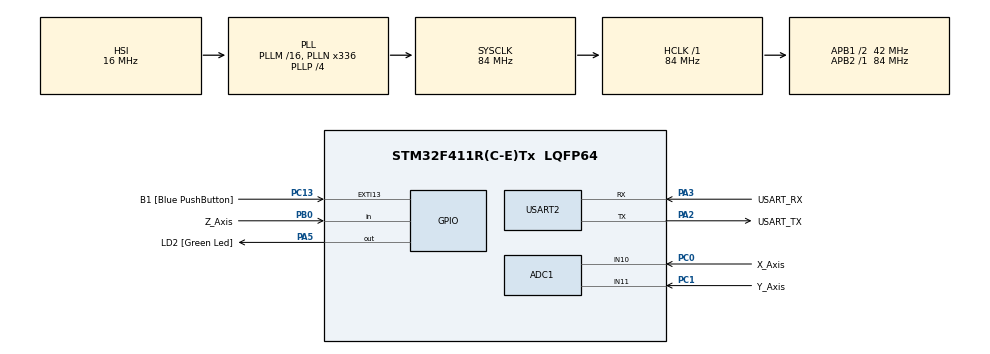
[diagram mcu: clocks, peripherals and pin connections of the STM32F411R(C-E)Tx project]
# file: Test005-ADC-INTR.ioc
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ADC1.Channel-0\#ChannelRegularConversion=ADC_CHANNEL_10
ADC1.Channel-1\#ChannelRegularConversion=ADC_CHANNEL_11
ADC1.DiscontinuousConvMode=ENABLE
ADC1.NbrOfConversion=2
ADC1.NbrOfConversionFlag=1
ADC1.Rank-0\#ChannelRegularConversion=1
ADC1.Rank-1\#ChannelRegularConversion=2
ADC1.SamplingTime-0\#ChannelRegularConversion=ADC_SAMPLETIME_3CYCLES
ADC1.SamplingTime-1\#ChannelRegularConversion=ADC_SAMPLETIME_3CYCLES
ADC1.master=1
Mcu.Family=STM32F4
Mcu.Name=STM32F411R(C-E)Tx
Mcu.Package=LQFP64
NVIC.ADC_IRQn=true\:0\:0\:false\:false\:true\:true\:true\:true
NVIC.PriorityGroup=NVIC_PRIORITYGROUP_0
NVIC.TIM3_IRQn=true\:0\:0\:false\:false\:true\:true\:true\:true
PA13.GPIO_Label=TMS
PA13.Mode=Serial_Wire
PA13.Signal=SYS_JTMS-SWDIO
PA14.GPIO_Label=TCK
PA14.Mode=Serial_Wire
PA14.Signal=SYS_JTCK-SWCLK
PA2.GPIO_Label=USART_TX
PA2.Mode=Asynchronous
PA2.Signal=USART2_TX
PA3.GPIO_Label=USART_RX
PA3.Mode=Asynchronous
PA3.Signal=USART2_RX
PA5.GPIO_Label=LD2 [Green Led]
PA5.Signal=GPIO_Output
PB0.GPIO_Label=Z_Axis
PB0.GPIO_PuPd=GPIO_PULLUP
PB0.Signal=GPIO_Input
PB3.GPIO_Label=SWO
PB3.Signal=SYS_JTDO-SWO
PC0.GPIO_Label=X_Axis
PC0.Signal=ADCx_IN10
PC1.GPIO_Label=Y_Axis
PC1.Signal=ADCx_IN11
PC13-ANTI_TAMP.GPIO_Label=B1 [Blue PushButton]
PC13-ANTI_TAMP.GPIO_ModeDefaultEXTI=GPIO_MODE_IT_FALLING
PC13-ANTI_TAMP.Signal=GPXTI13
PC14-OSC32_IN.Mode=LSE-External-Oscillator
PC14-OSC32_IN.Signal=RCC_OSC32_IN
PC15-OSC32_OUT.Mode=LSE-External-Oscillator
PC15-OSC32_OUT.Signal=RCC_OSC32_OUT
PH0\ -\ OSC_IN.Mode=HSE-External-Clock-Source
PH0\ -\ OSC_IN.Signal=RCC_OSC_IN
PH1\ -\ OSC_OUT.Mode=HSE-External-Clock-Source
PH1\ -\ OSC_OUT.Signal=RCC_OSC_OUT
ProjectManager.HeapSize=0x200
ProjectManager.StackSize=0x400
ProjectManager.TargetToolchain=STM32CubeIDE
RCC.48MHZClocksFreq_Value=84000000
RCC.AHBFreq_Value=84000000
RCC.APB1CLKDivider=RCC_HCLK_DIV2
RCC.APB1Freq_Value=42000000
RCC.APB1TimFreq_Value=84000000
RCC.APB2Freq_Value=84000000
RCC.APB2TimFreq_Value=84000000
RCC.CortexFreq_Value=84000000
RCC.FLatency-AdvancedSettings=FLASH_LATENCY_2
RCC.HCLKFreq_Value=84000000
RCC.HSE_VALUE=8000000
RCC.HSI_VALUE=16000000
RCC.PLLN=336
RCC.PLLP=RCC_PLLP_DIV4
RCC.SYSCLKFreq_VALUE=84000000
RCC.SYSCLKSource=RCC_SYSCLKSOURCE_PLLCLK
RCC.VCOOutputFreq_Value=336000000
SH.ADCx_IN10.0=ADC1_IN10,IN10
SH.ADCx_IN11.0=ADC1_IN11,IN11
TIM3.Period=2000-1
TIM3.Prescaler=8400-1
USART2.VirtualMode=VM_ASYNC
VP_TIM3_VS_ClockSourceINT.Mode=Internal
board=NUCLEO-F411RE

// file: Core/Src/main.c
/* USER CODE BEGIN Header */
/**
  ******************************************************************************
  * @file           : main.c
  * @brief          : Main program body
  ******************************************************************************
  * @attention
  *
  * Copyright (c) 2024 STMicroelectronics.
  * All rights reserved.
  *
  * This software is licensed under terms that can be found in the LICENSE file
  * in the root directory of this software component.
  * If no LICENSE file comes with this software, it is provided AS-IS.
  *
  ******************************************************************************
  */
/* USER CODE END Header */
#include "main.h"

ADC_HandleTypeDef hadc1;

TIM_HandleTypeDef htim3;

UART_HandleTypeDef huart2;

void SystemClock_Config(void);
static void MX_GPIO_Init(void);
static void MX_USART2_UART_Init(void);
static void MX_ADC1_Init(void);
static void MX_TIM3_Init(void);

/* USER CODE BEGIN 0 */
int xa[100];
int ya[100];
void MakeItem()
{
	int i;
	//srand(htim3.Instance->CNT);
	srand(hadc1.Instance->DR);
	  for( i = 0; i <100; i++)
	  {
		  int v1 = rand(); // 0 ~ 2,147,483,647
		  int v2 = rand();
		  xa[i] = (((double)v1/ 2147483647.)) * 80;
		  ya[i] = (((double)v2/ 2147483647.)) * 24;
		  //printf("[%d;%d](%d,%d)\r\n", v1, v2, xa[i], ya[i]);
		  printf("\033[%d;%dH!", ya[i], xa[i]);
	  }
	  printf("\n");
}
int x, y=12, z, idx = 0;
int sx=80,sy=24;
int cx=39,cy=12;
void HAL_ADC_ConvCpltCallback(ADC_HandleTypeDef *hadc)
{
	//HAL_ADC_Start(&hadc1);
	//HAL_ADC_PollForConversion(&hadc1, 1000); // start Trigger
	int v = ((double)((HAL_ADC_GetValue(&hadc1)) / 1400)) -1;
	if(idx == 0) x = cx + v; else y = cy + v;
	//printf("ADC value : %d\r\n", v);
	//HAL_Delay(200);
	if(++idx == 2) idx = 0;
	x = (x > 80)? 80: (x < 0) ? 0:x;
	y = (y > 24)? 24: (y < 0) ? 0:y;
	z = HAL_GPIO_ReadPin(Z_Axis_GPIO_Port, Z_Axis_Pin);
}
void HAL_TIM_PeriodElapsedCallback(TIM_HandleTypeDef *htim)
{
	HAL_ADC_Start_IT(&hadc1); // one time
}
/* USER CODE END 0 */

int main(void)
{

  /* MCU Configuration--------------------------------------------------------*/

  /* Reset of all peripherals, Initializes the Flash interface and the Systick. */
  HAL_Init();

  /* Configure the system clock */
  SystemClock_Config();

  /* Initialize all configured peripherals */
  MX_GPIO_Init();
  MX_USART2_UART_Init();
  MX_ADC1_Init();
  MX_TIM3_Init();
  /* USER CODE BEGIN 2 */
  ProgramStart("ADC - Interrupt ");
  //HAL_ADC_Start_IT(&hadc1); // one time
  HAL_TIM_Base_Start_IT(&htim3);
  printf("\033[2J\033[?25l\n");

  /* USER CODE END 2 */

  /* Infinite loop */
  /* USER CODE BEGIN WHILE */
  MakeItem();
  while (1)
  {
	//printf("Current ADC value (%d,%d) : \r\n", x, y);
	  printf("\033[0;0HADC Value : (%d,%d,%d)\n", x, y, z); // location info
	  printf("\033[%d;%dH \033[%d;%dH@\033[A\n", cy, cx, y, x);
	  cx = x; cy = y; //save current pos
	  HAL_Delay(100);
    /* USER CODE END WHILE */

  }
}

void SystemClock_Config(void)
{
  RCC_OscInitTypeDef RCC_OscInitStruct = {0};
  RCC_ClkInitTypeDef RCC_ClkInitStruct = {0};

  /** Configure the main internal regulator output voltage
  */
  __HAL_RCC_PWR_CLK_ENABLE();
  __HAL_PWR_VOLTAGESCALING_CONFIG(PWR_REGULATOR_VOLTAGE_SCALE1);

  /** Initializes the RCC Oscillators according to the specified parameters
  * in the RCC_OscInitTypeDef structure.
  */
  RCC_OscInitStruct.OscillatorType = RCC_OSCILLATORTYPE_HSI;
  RCC_OscInitStruct.HSIState = RCC_HSI_ON;
  RCC_OscInitStruct.HSICalibrationValue = RCC_HSICALIBRATION_DEFAULT;
  RCC_OscInitStruct.PLL.PLLState = RCC_PLL_ON;
  RCC_OscInitStruct.PLL.PLLSource = RCC_PLLSOURCE_HSI;
  RCC_OscInitStruct.PLL.PLLM = 16;
  RCC_OscInitStruct.PLL.PLLN = 336;
  RCC_OscInitStruct.PLL.PLLP = RCC_PLLP_DIV4;
  RCC_OscInitStruct.PLL.PLLQ = 4;
  if (HAL_RCC_OscConfig(&RCC_OscInitStruct) != HAL_OK)
  {
    Error_Handler();
  }

  /** Initializes the CPU, AHB and APB buses clocks
  */
  RCC_ClkInitStruct.ClockType = RCC_CLOCKTYPE_HCLK|RCC_CLOCKTYPE_SYSCLK
                              |RCC_CLOCKTYPE_PCLK1|RCC_CLOCKTYPE_PCLK2;
  RCC_ClkInitStruct.SYSCLKSource = RCC_SYSCLKSOURCE_PLLCLK;
  RCC_ClkInitStruct.AHBCLKDivider = RCC_SYSCLK_DIV1;
  RCC_ClkInitStruct.APB1CLKDivider = RCC_HCLK_DIV2;
  RCC_ClkInitStruct.APB2CLKDivider = RCC_HCLK_DIV1;

  if (HAL_RCC_ClockConfig(&RCC_ClkInitStruct, FLASH_LATENCY_2) != HAL_OK)
  {
    Error_Handler();
  }
}

static void MX_ADC1_Init(void)
{

  ADC_ChannelConfTypeDef sConfig = {0};

  /** Configure the global features of the ADC (Clock, Resolution, Data Alignment and number of conversion)
  */
  hadc1.Instance = ADC1;
  hadc1.Init.ClockPrescaler = ADC_CLOCK_SYNC_PCLK_DIV4;
  hadc1.Init.Resolution = ADC_RESOLUTION_12B;
  hadc1.Init.ScanConvMode = ENABLE;
  hadc1.Init.ContinuousConvMode = DISABLE;
  hadc1.Init.DiscontinuousConvMode = ENABLE;
  hadc1.Init.NbrOfDiscConversion = 1;
  hadc1.Init.ExternalTrigConvEdge = ADC_EXTERNALTRIGCONVEDGE_NONE;
  hadc1.Init.ExternalTrigConv = ADC_SOFTWARE_START;
  hadc1.Init.DataAlign = ADC_DATAALIGN_RIGHT;
  hadc1.Init.NbrOfConversion = 2;
  hadc1.Init.DMAContinuousRequests = DISABLE;
  hadc1.Init.EOCSelection = ADC_EOC_SINGLE_CONV;
  if (HAL_ADC_Init(&hadc1) != HAL_OK)
  {
    Error_Handler();
  }

  /** Configure for the selected ADC regular channel its corresponding rank in the sequencer and its sample time.
  */
  sConfig.Channel = ADC_CHANNEL_10;
  sConfig.Rank = 1;
  sConfig.SamplingTime = ADC_SAMPLETIME_3CYCLES;
  if (HAL_ADC_ConfigChannel(&hadc1, &sConfig) != HAL_OK)
  {
    Error_Handler();
  }

  /** Configure for the selected ADC regular channel its corresponding rank in the sequencer and its sample time.
  */
  sConfig.Channel = ADC_CHANNEL_11;
  sConfig.Rank = 2;
  if (HAL_ADC_ConfigChannel(&hadc1, &sConfig) != HAL_OK)
  {
    Error_Handler();
  }

}

static void MX_TIM3_Init(void)
{

  TIM_ClockConfigTypeDef sClockSourceConfig = {0};
  TIM_MasterConfigTypeDef sMasterConfig = {0};

  htim3.Instance = TIM3;
  htim3.Init.Prescaler = 8400-1;
  htim3.Init.CounterMode = TIM_COUNTERMODE_UP;
  htim3.Init.Period = 2000-1;
  htim3.Init.ClockDivision = TIM_CLOCKDIVISION_DIV1;
  htim3.Init.AutoReloadPreload = TIM_AUTORELOAD_PRELOAD_DISABLE;
  if (HAL_TIM_Base_Init(&htim3) != HAL_OK)
  {
    Error_Handler();
  }
  sClockSourceConfig.ClockSource = TIM_CLOCKSOURCE_INTERNAL;
  if (HAL_TIM_ConfigClockSource(&htim3, &sClockSourceConfig) != HAL_OK)
  {
    Error_Handler();
  }
  sMasterConfig.MasterOutputTrigger = TIM_TRGO_RESET;
  sMasterConfig.MasterSlaveMode = TIM_MASTERSLAVEMODE_DISABLE;
  if (HAL_TIMEx_MasterConfigSynchronization(&htim3, &sMasterConfig) != HAL_OK)
  {
    Error_Handler();
  }

}

static void MX_USART2_UART_Init(void)
{

  huart2.Instance = USART2;
  huart2.Init.BaudRate = 115200;
  huart2.Init.WordLength = UART_WORDLENGTH_8B;
  huart2.Init.StopBits = UART_STOPBITS_1;
  huart2.Init.Parity = UART_PARITY_NONE;
  huart2.Init.Mode = UART_MODE_TX_RX;
  huart2.Init.HwFlowCtl = UART_HWCONTROL_NONE;
  huart2.Init.OverSampling = UART_OVERSAMPLING_16;
  if (HAL_UART_Init(&huart2) != HAL_OK)
  {
    Error_Handler();
  }

}

static void MX_GPIO_Init(void)
{
  GPIO_InitTypeDef GPIO_InitStruct = {0};

  /* GPIO Ports Clock Enable */
  __HAL_RCC_GPIOC_CLK_ENABLE();
  __HAL_RCC_GPIOH_CLK_ENABLE();
  __HAL_RCC_GPIOA_CLK_ENABLE();
  __HAL_RCC_GPIOB_CLK_ENABLE();

  /*Configure GPIO pin Output Level */
  HAL_GPIO_WritePin(LD2_GPIO_Port, LD2_Pin, GPIO_PIN_RESET);

  /*Configure GPIO pin : B1_Pin */
  GPIO_InitStruct.Pin = B1_Pin;
  GPIO_InitStruct.Mode = GPIO_MODE_IT_FALLING;
  GPIO_InitStruct.Pull = GPIO_NOPULL;
  HAL_GPIO_Init(B1_GPIO_Port, &GPIO_InitStruct);

  /*Configure GPIO pin : LD2_Pin */
  GPIO_InitStruct.Pin = LD2_Pin;
  GPIO_InitStruct.Mode = GPIO_MODE_OUTPUT_PP;
  GPIO_InitStruct.Pull = GPIO_NOPULL;
  GPIO_InitStruct.Speed = GPIO_SPEED_FREQ_LOW;
  HAL_GPIO_Init(LD2_GPIO_Port, &GPIO_InitStruct);

  /*Configure GPIO pin : Z_Axis_Pin */
  GPIO_InitStruct.Pin = Z_Axis_Pin;
  GPIO_InitStruct.Mode = GPIO_MODE_INPUT;
  GPIO_InitStruct.Pull = GPIO_PULLUP;
  HAL_GPIO_Init(Z_Axis_GPIO_Port, &GPIO_InitStruct);

}

void Error_Handler(void)
{
  __disable_irq();
  while (1)
  {
  }
}
